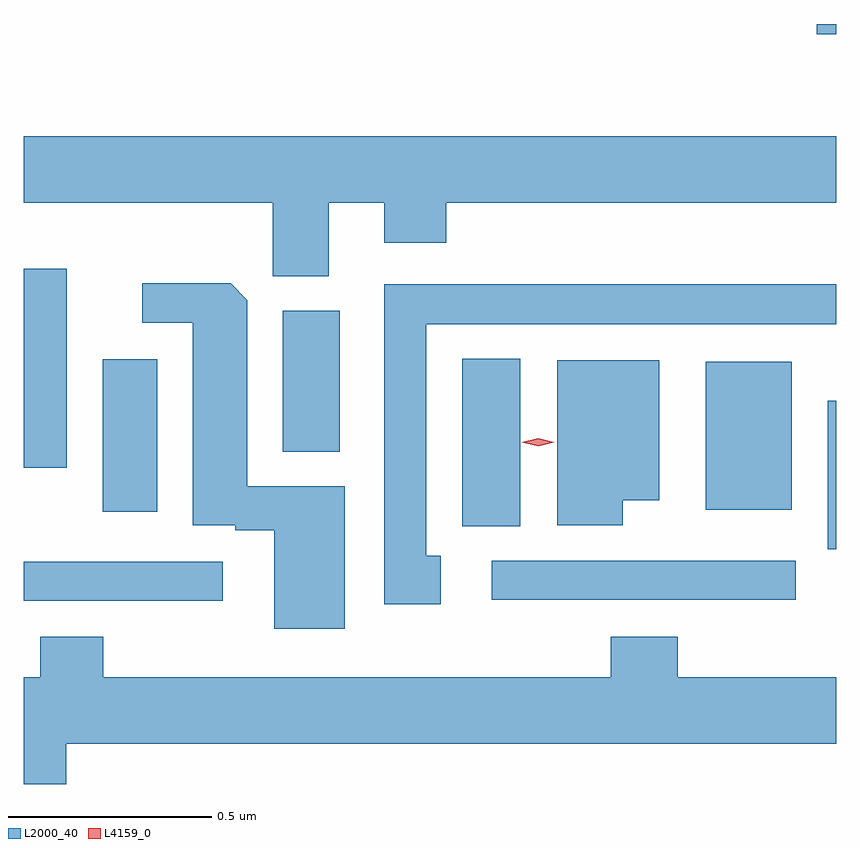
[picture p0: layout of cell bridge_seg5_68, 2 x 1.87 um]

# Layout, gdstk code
import gdstk
lib = gdstk.Library(unit=1e-6, precision=1e-09)
def R(c, l, rs):  # rectangles x0, y0, x1, y1
    for r in rs: c.add(gdstk.rectangle(r[:2], r[2:], *l))
def P(c, l, *ps):  # polygons
    for p in ps: c.add(gdstk.Polygon(p, *l))
L2000_40 = (2000, 40)
L4159_0 = (4159, 0)

bridge_seg5_68 = lib.new_cell('bridge_seg5_68')
R(bridge_seg5_68, L2000_40, [(262.392,911.724,262.882,911.82), (263.544,911.727,264.292,911.823), (264.371,911.851,264.392,912.217), (263.471,911.908,263.614,912.32), (262.586,911.943,262.72,912.319), (264.071,911.948,264.283,912.313), (262.392,912.051,262.498,912.541), (263.03,912.091,263.17,912.438), (264.344,913.119,264.392,913.144)])
P(bridge_seg5_68, L2000_40, [(263.143,912.704),(263.279,912.704),(263.279,912.605),(263.432,912.605),(263.432,912.704),(264.392,912.704),(264.392,912.868),(262.392,912.868),(262.392,912.704),(263.005,912.704),(263.005,912.523),(263.143,912.523)],
  [(263.182,912.006),(262.942,912.006),(262.942,912.464),(262.901,912.506),(262.683,912.506),(262.683,912.408),(262.808,912.408),(262.808,911.91),(262.913,911.91),(262.913,911.898),(263.009,911.898),(263.009,911.655),(263.182,911.655)],
  [(263.419,911.835),(263.383,911.835),(263.383,912.405),(264.392,912.405),(264.392,912.503),(263.279,912.503),(263.279,911.715),(263.419,911.715)],
  [(263.866,911.972),(263.956,911.972),(263.956,912.316),(263.705,912.316),(263.705,911.91),(263.866,911.91)],
  [(262.496,911.372),(264.392,911.372),(264.392,911.536),(264.002,911.536),(264.002,911.635),(263.837,911.635),(263.837,911.536),(262.587,911.536),(262.587,911.635),(262.432,911.635),(262.432,911.536),(262.392,911.536),(262.392,911.273),(262.496,911.273)])
P(bridge_seg5_68, L4159_0, [(263.658,912.104),(263.618,912.114),(263.618,912.114),(263.618,912.114),(263.658,912.124),(263.698,912.114),(263.698,912.114),(263.698,912.114)])

lib.write_gds('bridge_seg5_68.gds')
